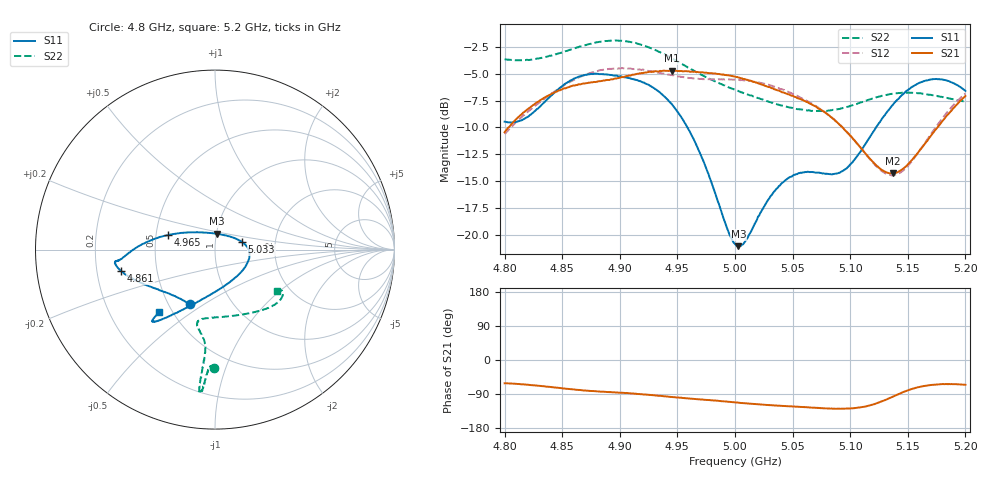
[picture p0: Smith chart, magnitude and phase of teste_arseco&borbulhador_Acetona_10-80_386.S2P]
! Network Analyzer HP8722D
! Hewlett-Packard
! Data name: Linha & Wilkinson
! Saver's name: Rodrigo Anjos
! Comments: Teste da utilização de aquisição
! continua pelo VNA HP8722D
! Time and date: 17/4/2025 17:34
!  Frequency  S11  S21  S12  S22
# HZ  S  MA R 50
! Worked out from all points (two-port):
!   401 points, 4.8 GHz to 5.2 GHz, reference 50 ohm
!   highest |S21| = -4.71 dB at 4.945 GHz (marker M1); lowest = -14.3 dB at 5.137 GHz (marker M2)
!   |S21| within 3 dB of the highest: 4.827 GHz to 5.064 GHz (236.4 MHz wide, 4.78 % of centre); 5.193846 GHz to end of sweep
!   lowest |S11| = -21.1 dB at 5.003 GHz (marker M3), VSWR 1.19, Z = 50.3 + j8.92 ohm
!   |S11| at or under -10 dB: 4.959 GHz to 5.122 GHz (163.7 MHz wide, 3.25 % of centre)
!   |S22| runs from -8.5 to -1.9 dB; largest |S21 - S12| = 0.87
!   S11 on the Smith chart (normalised r, x): 4.8 GHz: 0.63, -0.44; 4.861 GHz: 0.31, -0.10; 4.965 GHz: 0.58, +0.10; 5.033 GHz: 1.35, +0.12; 5.2 GHz: 0.42, -0.38
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4.8e9  0.3365 -114.9  0.3005 -61.4  0.2952 -175.4  0.6573 -90.5
4.819e9  0.3523 -135.0  0.3808 -65.1  0.3689 -174.7  0.653 -92.2
4.861e9  0.536 -166.9  0.4955 -78.1  0.5301 -178.0  0.739 -94.4
4.867e9  0.5504 -169.3  0.5044 -79.8  0.5475 -179.1  0.7561 -94.6
4.9e9  0.5474 -173.6  0.5386 -86.4  0.5952 174.6  0.8008 -96.1
4.934e9  0.4642 -179.2  0.5767 -94.6  0.5686 171.1  0.711 -96.4
4.945e9  0.4069 175.8  0.5815 -97.6  0.555 171.2  0.6648 -96.0
4.965e9  0.2727 162.5  0.5757 -102.8  0.534 172.9  0.5786 -95.6
4.994e9  0.1045 115.6  0.5531 -110.2  0.5293 175.2  0.4873 -98.2
5e9  0.09085 94.6  0.545 -111.9  0.5289 175.4  0.4733 -99.5
5.003e9  0.08859 82.7  0.5399 -112.8  0.5273 175.4  0.4672 -100.3
5.009e9  0.09344 61.2  0.53 -114.3  0.5258 175.3  0.453 -101.4
5.033e9  0.1567 15.8  0.481 -119.6  0.4914 174.1  0.4113 -103.4
5.049e9  0.1864 0.1  0.444 -122.3  0.4566 173.5  0.3905 -99.2
5.067e9  0.196 -19.4  0.4035 -125.7  0.4087 173.2  0.3778 -89.8
5.096e9  0.2026 -69.9  0.3051 -128.4  0.3053 174.6  0.3922 -67.2
5.123e9  0.3195 -110.3  0.2096 -114.2  0.2079 -169.0  0.4374 -48.6
5.134e9  0.3849 -118.9  0.1936 -100.8  0.1906 -153.7  0.4516 -43.2
5.137e9  0.4026 -120.5  0.1931 -96.6  0.1897 -149.0  0.4541 -41.9
5.15e9  0.4712 -126.1  0.2125 -80.1  0.209 -129.8  0.4591 -37.1
5.17e9  0.5288 -130.5  0.2884 -66.0  0.2939 -112.2  0.4484 -32.5
5.2e9  0.4679 -131.7  0.4427 -65.4  0.4542 -107.5  0.4161 -34.1
